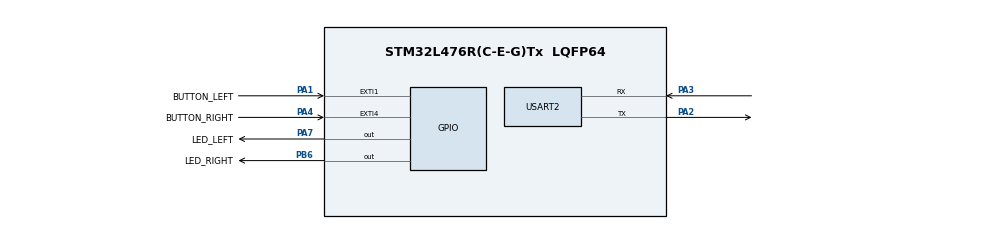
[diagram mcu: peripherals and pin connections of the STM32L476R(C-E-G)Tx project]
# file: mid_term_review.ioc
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Mcu.Family=STM32L4
Mcu.Name=STM32L476R(C-E-G)Tx
Mcu.Package=LQFP64
NVIC.EXTI1_IRQn=true\:0\:0\:false\:false\:true\:true\:true\:true
NVIC.EXTI4_IRQn=true\:0\:0\:false\:false\:true\:true\:true\:true
NVIC.PriorityGroup=NVIC_PRIORITYGROUP_4
NVIC.USART2_IRQn=true\:0\:0\:false\:false\:true\:true\:true\:true
PA1.GPIO_Label=BUTTON_LEFT
PA1.Signal=GPXTI1
PA2.Mode=Asynchronous
PA2.Signal=USART2_TX
PA3.Mode=Asynchronous
PA3.Signal=USART2_RX
PA4.GPIO_Label=BUTTON_RIGHT
PA4.Signal=GPXTI4
PA7.GPIO_Label=LED_LEFT
PA7.PinState=GPIO_PIN_SET
PA7.Signal=GPIO_Output
PB6.GPIO_Label=LED_RIGHT
PB6.PinState=GPIO_PIN_SET
PB6.Signal=GPIO_Output
ProjectManager.HeapSize=0x200
ProjectManager.StackSize=0x400
ProjectManager.TargetToolchain=STM32CubeIDE
RCC.HSE_VALUE=8000000
RCC.HSI_VALUE=16000000
RCC.LSE_VALUE=32768
RCC.MSI_VALUE=4000000
RCC.VCOOutputFreq_Value=32000000
USART2.VirtualMode-Asynchronous=VM_ASYNC
board=custom

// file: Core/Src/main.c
/* USER CODE BEGIN Header */
/**
  ******************************************************************************
  * @file           : main.c
  * @brief          : Main program body
  ******************************************************************************
  */
/* USER CODE END Header */

#include "main.h"
#include "ring_buffer.h"

#define DOCUMENTO_SIZE 10  // Número de dígitos de tu documento
#define EXPECTED_DOCUMENT {1, 0, 0, 3, 8, 2, 8, 9, 9, 7}  // Documento esperado en formato de arreglo de enteros
#define EXPECTED_NAME "Fredy Andrés Castaño Escobar"

UART_HandleTypeDef huart2;
uint8_t data;
uint8_t documento_esperado[DOCUMENTO_SIZE] = EXPECTED_DOCUMENT;
uint8_t documento_recibido[DOCUMENTO_SIZE] = {};  // Arreglo donde se guardará el documento recibido
uint8_t doc_index = 0;
uint8_t right_ID(uint8_t *data) {
    for (int i = 0; i <= 10; i++) {
        if (data[i] != documento_esperado[i]) {
            return 0;  // Documento incorrecto
        }else{
        	return 1;
        }
    };  // Documento correcto
}

void SystemClock_Config(void);
static void MX_GPIO_Init(void);
static void MX_USART2_UART_Init(void);

/* USER CODE BEGIN 0 */

void HAL_UART_RxCpltCallback(UART_HandleTypeDef *huart) {
    if (huart->Instance == USART2) {
        ring_buffer_write(data);  // Guardar el dato recibido en el buffer circular
        HAL_UART_Transmit(&huart2, (uint8_t*)"Byte recibido\r\n", 15, HAL_MAX_DELAY);  // Mensaje de depuración
        HAL_UART_Receive_IT(&huart2, &data, 1);  // Configurar UART para recibir el próximo byte

    }

    if (ring_buffer_is_full()) {
            uint8_t byte = 0;
            uint8_t data[DOCUMENTO_SIZE];

            for (uint8_t i = 0; i < DOCUMENTO_SIZE; i++) {
                ring_buffer_read(&byte);
                data[i] = byte - '0';  // Convertir el byte recibido (carácter ASCII) a número
            }

            if (right_ID(data)) {
                HAL_UART_Transmit(&huart2, (uint8_t*)"Fredy\r\n", 7, HAL_MAX_DELAY);
            } else {
                HAL_UART_Transmit(&huart2, (uint8_t*)"Incorrecto\r\n", 12, HAL_MAX_DELAY);
            }
        }
}

/* USER CODE END 0 */

int main(void)
{

  /* MCU Configuration--------------------------------------------------------*/

  HAL_Init();
  SystemClock_Config();
  MX_GPIO_Init();
  MX_USART2_UART_Init();

  /* USER CODE BEGIN 2 */
  ring_buffer_reset();  // Resetea el buffer circular al inicio
  HAL_UART_Receive_IT(&huart2, &data, 1);  // Configurar UART para recibir el primer byte
  /* USER CODE END 2 */

  /* Infinite loop */
  while (1)
  {

  }
}

void SystemClock_Config(void)
{
  RCC_OscInitTypeDef RCC_OscInitStruct = {0};
  RCC_ClkInitTypeDef RCC_ClkInitStruct = {0};

  /** Configure the main internal regulator output voltage
  */
  if (HAL_PWREx_ControlVoltageScaling(PWR_REGULATOR_VOLTAGE_SCALE1) != HAL_OK)
  {
    Error_Handler();
  }

  /** Initializes the RCC Oscillators according to the specified parameters
  * in the RCC_OscInitTypeDef structure.
  */
  RCC_OscInitStruct.OscillatorType = RCC_OSCILLATORTYPE_MSI;
  RCC_OscInitStruct.MSIState = RCC_MSI_ON;
  RCC_OscInitStruct.MSICalibrationValue = 0;
  RCC_OscInitStruct.MSIClockRange = RCC_MSIRANGE_6;
  RCC_OscInitStruct.PLL.PLLState = RCC_PLL_NONE;
  if (HAL_RCC_OscConfig(&RCC_OscInitStruct) != HAL_OK)
  {
    Error_Handler();
  }

  /** Initializes the CPU, AHB and APB buses clocks
  */
  RCC_ClkInitStruct.ClockType = RCC_CLOCKTYPE_HCLK|RCC_CLOCKTYPE_SYSCLK
                              |RCC_CLOCKTYPE_PCLK1|RCC_CLOCKTYPE_PCLK2;
  RCC_ClkInitStruct.SYSCLKSource = RCC_SYSCLKSOURCE_MSI;
  RCC_ClkInitStruct.AHBCLKDivider = RCC_SYSCLK_DIV1;
  RCC_ClkInitStruct.APB1CLKDivider = RCC_HCLK_DIV1;
  RCC_ClkInitStruct.APB2CLKDivider = RCC_HCLK_DIV1;

  if (HAL_RCC_ClockConfig(&RCC_ClkInitStruct, FLASH_LATENCY_0) != HAL_OK)
  {
    Error_Handler();
  }
}

static void MX_USART2_UART_Init(void)
{

  huart2.Instance = USART2;
  huart2.Init.BaudRate = 115200;
  huart2.Init.WordLength = UART_WORDLENGTH_8B;
  huart2.Init.StopBits = UART_STOPBITS_1;
  huart2.Init.Parity = UART_PARITY_NONE;
  huart2.Init.Mode = UART_MODE_TX_RX;
  huart2.Init.HwFlowCtl = UART_HWCONTROL_NONE;
  huart2.Init.OverSampling = UART_OVERSAMPLING_16;
  huart2.Init.OneBitSampling = UART_ONE_BIT_SAMPLE_DISABLE;
  huart2.AdvancedInit.AdvFeatureInit = UART_ADVFEATURE_NO_INIT;
  if (HAL_UART_Init(&huart2) != HAL_OK)
  {
    Error_Handler();
  }

}

static void MX_GPIO_Init(void)
{
  GPIO_InitTypeDef GPIO_InitStruct = {0};

  /* GPIO Ports Clock Enable */
  __HAL_RCC_GPIOA_CLK_ENABLE();
  __HAL_RCC_GPIOB_CLK_ENABLE();

  /*Configure GPIO pin Output Level */
  HAL_GPIO_WritePin(LED_LEFT_GPIO_Port, LED_LEFT_Pin, GPIO_PIN_SET);

  /*Configure GPIO pin Output Level */
  HAL_GPIO_WritePin(LED_RIGHT_GPIO_Port, LED_RIGHT_Pin, GPIO_PIN_SET);

  /*Configure GPIO pins : BUTTON_LEFT_Pin BUTTON_RIGHT_Pin */
  GPIO_InitStruct.Pin = BUTTON_LEFT_Pin|BUTTON_RIGHT_Pin;
  GPIO_InitStruct.Mode = GPIO_MODE_IT_RISING;
  GPIO_InitStruct.Pull = GPIO_NOPULL;
  HAL_GPIO_Init(GPIOA, &GPIO_InitStruct);

  /*Configure GPIO pin : LED_LEFT_Pin */
  GPIO_InitStruct.Pin = LED_LEFT_Pin;
  GPIO_InitStruct.Mode = GPIO_MODE_OUTPUT_PP;
  GPIO_InitStruct.Pull = GPIO_NOPULL;
  GPIO_InitStruct.Speed = GPIO_SPEED_FREQ_LOW;
  HAL_GPIO_Init(LED_LEFT_GPIO_Port, &GPIO_InitStruct);

  /*Configure GPIO pin : LED_RIGHT_Pin */
  GPIO_InitStruct.Pin = LED_RIGHT_Pin;
  GPIO_InitStruct.Mode = GPIO_MODE_OUTPUT_PP;
  GPIO_InitStruct.Pull = GPIO_NOPULL;
  GPIO_InitStruct.Speed = GPIO_SPEED_FREQ_LOW;
  HAL_GPIO_Init(LED_RIGHT_GPIO_Port, &GPIO_InitStruct);

  /* EXTI interrupt init*/
  HAL_NVIC_SetPriority(EXTI1_IRQn, 0, 0);
  HAL_NVIC_EnableIRQ(EXTI1_IRQn);

  HAL_NVIC_SetPriority(EXTI4_IRQn, 0, 0);
  HAL_NVIC_EnableIRQ(EXTI4_IRQn);

}

void Error_Handler(void)
{
  __disable_irq();
  while (1)
  {
  }
}
